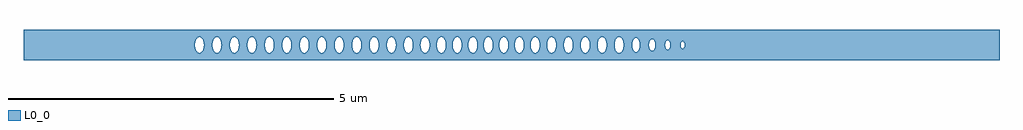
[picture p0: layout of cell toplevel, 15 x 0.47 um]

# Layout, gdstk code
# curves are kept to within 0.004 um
import gdstk
lib = gdstk.Library(unit=1e-6, precision=1e-09)
def P(c, l, *ps):  # polygons
    for p in ps: c.add(gdstk.Polygon(p, *l))
L0_0 = (0, 0)

toplevel = lib.new_cell('toplevel')
P(toplevel, L0_0, [(-4.31,-0.235),(-4.31,-0.085),(-4.324,-0.046),(-4.329,-0.008),(-4.324,0.046),(-4.31,0.085),(-4.31,0.235),(-7.5,0.235),(-7.5,-0.008),(-4.866,-0.008),(-4.864,0.031),(-4.85,0.079),(-4.829,0.109),(-4.8,0.124),(-4.769,0.115),(-4.744,0.085),(-4.728,0.038),(-4.725,-0.016),(-4.597,-0.016),(-4.594,0.038),(-4.584,0.073),(-4.561,0.109),(-4.531,0.124),(-4.505,0.118),(-4.475,0.085),(-4.461,0.046),(-4.456,0),(-4.461,-0.046),(-4.475,-0.085),(-4.493,-0.109),(-4.522,-0.124),(-4.549,-0.118),(-4.572,-0.096),(-4.589,-0.06),(-4.597,-0.016),(-4.725,-0.016),(-4.738,-0.073),(-4.75,-0.096),(-4.774,-0.118),(-4.8,-0.124),(-4.829,-0.109),(-4.847,-0.085),(-4.861,-0.046),(-4.866,-0.008),(-7.5,-0.008),(-7.5,-0.235)],
  [(-3.791,0.016),(-3.783,0.06),(-3.763,0.1),(-3.735,0.122),(-3.708,0.122),(-3.708,0.235),(-4.31,0.235),(-4.31,0.085),(-4.292,0.109),(-4.272,0.122),(-4.245,0.122),(-4.224,0.109),(-4.197,0.06),(-4.188,-0.016),(-4.06,-0.016),(-4.057,0.038),(-4.047,0.073),(-4.024,0.109),(-3.994,0.124),(-3.968,0.118),(-3.938,0.085),(-3.924,0.046),(-3.919,0),(-3.924,-0.046),(-3.938,-0.085),(-3.956,-0.109),(-3.985,-0.124),(-4.012,-0.118),(-4.035,-0.096),(-4.052,-0.06),(-4.06,-0.016),(-4.188,-0.016),(-4.207,-0.085),(-4.224,-0.109),(-4.245,-0.122),(-4.263,-0.124),(-4.28,-0.118),(-4.31,-0.085),(-4.31,-0.235),(-3.708,-0.235),(-3.708,-0.122),(-3.726,-0.124),(-3.743,-0.118),(-3.77,-0.09),(-3.79,-0.031)],
  [(-3.125,-0.066),(-3.139,-0.096),(-3.158,-0.115),(-3.18,-0.124),(-3.206,-0.118),(-3.239,-0.079),(-3.253,-0.031),(-3.255,0.008),(-3.25,0.046),(-3.236,0.085),(-3.218,0.109),(-3.189,0.124),(-3.163,0.118),(-3.139,0.096),(-3.117,0.038),(-3.117,0.235),(-3.708,0.235),(-3.708,0.122),(-3.687,0.109),(-3.664,0.073),(-3.654,0.038),(-3.651,-0.016),(-3.523,-0.016),(-3.52,0.038),(-3.51,0.073),(-3.487,0.109),(-3.457,0.124),(-3.431,0.118),(-3.408,0.096),(-3.391,0.06),(-3.382,0.008),(-3.387,-0.046),(-3.401,-0.085),(-3.419,-0.109),(-3.448,-0.124),(-3.475,-0.118),(-3.498,-0.096),(-3.515,-0.06),(-3.523,-0.016),(-3.651,-0.016),(-3.67,-0.085),(-3.687,-0.109),(-3.708,-0.122),(-3.708,-0.235),(-3.117,-0.235),(-3.117,-0.039)],
  [(-3.116,-0.031),(-3.117,-0.235),(-2.438,-0.235),(-2.438,-0.066),(-2.449,-0.016),(-2.447,0.031),(-2.438,0.066),(-2.438,0.235),(-3.117,0.235),(-3.114,-0.016),(-2.986,-0.016),(-2.983,0.038),(-2.973,0.073),(-2.95,0.109),(-2.92,0.124),(-2.894,0.118),(-2.864,0.085),(-2.85,0.046),(-2.845,-0.008),(-2.718,-0.008),(-2.713,0.046),(-2.696,0.09),(-2.669,0.118),(-2.638,0.123),(-2.602,0.096),(-2.59,0.073),(-2.577,0.016),(-2.58,-0.038),(-2.59,-0.073),(-2.613,-0.109),(-2.634,-0.122),(-2.665,-0.12),(-2.692,-0.096),(-2.709,-0.06),(-2.718,-0.008),(-2.845,-0.008),(-2.85,-0.046),(-2.864,-0.085),(-2.882,-0.109),(-2.911,-0.124),(-2.938,-0.118),(-2.961,-0.096),(-2.978,-0.06),(-2.986,-0.016),(-3.114,-0.016)],
  [(-1.915,0.016),(-1.911,0.046),(-1.894,0.09),(-1.876,0.112),(-1.85,0.124),(-1.85,0.235),(-2.438,0.235),(-2.438,0.066),(-2.424,0.096),(-2.401,0.118),(-2.383,0.124),(-2.357,0.118),(-2.334,0.096),(-2.319,0.066),(-2.309,-0.016),(-2.181,-0.016),(-2.178,0.038),(-2.168,0.073),(-2.145,0.109),(-2.115,0.124),(-2.089,0.118),(-2.066,0.096),(-2.045,0.046),(-2.04,0),(-2.045,-0.046),(-2.06,-0.085),(-2.077,-0.109),(-2.106,-0.124),(-2.133,-0.118),(-2.156,-0.096),(-2.173,-0.06),(-2.181,-0.016),(-2.309,-0.016),(-2.327,-0.085),(-2.345,-0.109),(-2.374,-0.124),(-2.392,-0.122),(-2.413,-0.109),(-2.438,-0.067),(-2.438,-0.235),(-1.85,-0.235),(-1.85,-0.124),(-1.876,-0.112),(-1.903,-0.073),(-1.914,-0.031)],
  [(-1.85,0.235),(-1.85,0.124),(-1.824,0.118),(-1.794,0.085),(-1.78,0.046),(-1.775,-0.008),(-1.655,-0.008),(-1.653,0.031),(-1.639,0.079),(-1.618,0.109),(-1.589,0.124),(-1.563,0.118),(-1.539,0.096),(-1.519,0.046),(-1.514,0.008),(-1.517,-0.038),(-1.527,-0.073),(-1.55,-0.109),(-1.58,-0.124),(-1.606,-0.118),(-1.633,-0.09),(-1.65,-0.046),(-1.655,-0.008),(-1.775,-0.008),(-1.78,-0.046),(-1.797,-0.09),(-1.824,-0.118),(-1.85,-0.124),(-1.85,-0.235),(-1.272,-0.235),(-1.272,-0.074),(-1.287,-0.1),(-1.307,-0.118),(-1.324,-0.124),(-1.342,-0.122),(-1.363,-0.109),(-1.38,-0.085),(-1.399,-0.016),(-1.396,0.038),(-1.386,0.073),(-1.374,0.096),(-1.355,0.115),(-1.333,0.124),(-1.307,0.118),(-1.287,0.1),(-1.272,0.073),(-1.272,0.235)],
  [(-1.26,-0.031),(-1.272,-0.073),(-1.272,-0.235),(-0.662,-0.235),(-0.662,0.235),(-1.272,0.235),(-1.272,0.072),(-1.26,0.031),(-1.259,-0.016),(-1.149,-0.016),(-1.146,0.038),(-1.136,0.073),(-1.113,0.109),(-1.083,0.124),(-1.057,0.118),(-1.03,0.09),(-1.013,0.046),(-1.008,0),(-0.905,0),(-0.9,0.046),(-0.879,0.096),(-0.856,0.118),(-0.825,0.123),(-0.789,0.096),(-0.772,0.06),(-0.764,0.016),(-0.772,-0.06),(-0.789,-0.096),(-0.812,-0.118),(-0.843,-0.123),(-0.872,-0.105),(-0.896,-0.06),(-0.905,0),(-1.008,0),(-1.013,-0.046),(-1.027,-0.085),(-1.045,-0.109),(-1.074,-0.124),(-1.1,-0.118),(-1.124,-0.096),(-1.136,-0.073),(-1.149,-0.016),(-1.259,-0.016)],
  [(-0.661,0.038),(-0.639,0.096),(-0.615,0.118),(-0.589,0.124),(-0.56,0.109),(-0.539,0.079),(-0.525,0.031),(-0.524,-0.016),(-0.426,-0.016),(-0.423,0.038),(-0.407,0.085),(-0.378,0.118),(-0.351,0.124),(-0.322,0.109),(-0.304,0.085),(-0.29,0.046),(-0.285,0),(-0.29,-0.046),(-0.304,-0.085),(-0.322,-0.109),(-0.351,-0.124),(-0.378,-0.118),(-0.401,-0.096),(-0.418,-0.06),(-0.426,-0.016),(-0.524,-0.016),(-0.528,-0.046),(-0.545,-0.09),(-0.56,-0.109),(-0.589,-0.124),(-0.615,-0.118),(-0.639,-0.096),(-0.662,-0.034),(-0.662,-0.235),(-0.145,-0.235),(-0.145,-0.115),(-0.164,-0.096),(-0.176,-0.073),(-0.189,-0.016),(-0.186,0.038),(-0.176,0.073),(-0.164,0.096),(-0.145,0.115),(-0.145,0.235),(-0.662,0.235)],
  [(0.295,0.016),(0.31,0.079),(0.343,0.118),(0.36,0.124),(0.378,0.122),(0.41,0.096),(0.41,0.235),(-0.145,0.235),(-0.145,0.115),(-0.123,0.124),(-0.105,0.122),(-0.074,0.096),(-0.053,0.046),(-0.049,-0.016),(0.05,-0.016),(0.053,0.038),(0.063,0.073),(0.086,0.109),(0.116,0.124),(0.142,0.118),(0.169,0.09),(0.186,0.046),(0.191,0.008),(0.189,-0.031),(0.175,-0.079),(0.154,-0.109),(0.125,-0.124),(0.099,-0.118),(0.075,-0.096),(0.063,-0.073),(0.05,-0.016),(-0.049,-0.016),(-0.059,-0.066),(-0.081,-0.105),(-0.114,-0.124),(-0.145,-0.115),(-0.145,-0.235),(0.41,-0.235),(0.41,-0.096),(0.391,-0.115),(0.369,-0.124),(0.352,-0.122),(0.331,-0.109),(0.303,-0.06)],
  [(0.41,0.235),(0.41,0.096),(0.432,0.038),(0.435,-0.008),(0.546,-0.008),(0.548,0.031),(0.562,0.079),(0.583,0.109),(0.612,0.124),(0.643,0.115),(0.668,0.085),(0.684,0.038),(0.687,-0.016),(0.804,-0.016),(0.807,0.038),(0.817,0.073),(0.84,0.109),(0.87,0.124),(0.896,0.118),(0.919,0.096),(0.94,0.046),(0.945,0),(0.94,-0.046),(0.925,-0.085),(0.908,-0.109),(0.878,-0.124),(0.852,-0.118),(0.829,-0.096),(0.812,-0.06),(0.804,-0.016),(0.687,-0.016),(0.676,-0.067),(0.662,-0.096),(0.638,-0.118),(0.612,-0.124),(0.583,-0.109),(0.565,-0.085),(0.551,-0.046),(0.546,-0.008),(0.435,-0.008),(0.43,-0.046),(0.41,-0.096),(0.41,-0.235),(1.063,-0.235),(1.063,0.235)],
  [(1.613,-0.235),(1.613,-0.1),(1.592,-0.06),(1.584,-0.016),(1.59,0.053),(1.613,0.1),(1.613,0.235),(1.063,0.235),(1.063,0.016),(1.071,0.06),(1.088,0.096),(1.111,0.118),(1.138,0.124),(1.167,0.109),(1.185,0.085),(1.199,0.046),(1.203,-0.016),(1.322,-0.016),(1.325,0.038),(1.341,0.085),(1.366,0.115),(1.397,0.124),(1.426,0.109),(1.444,0.085),(1.458,0.046),(1.463,0.008),(1.461,-0.031),(1.447,-0.079),(1.426,-0.109),(1.397,-0.124),(1.371,-0.118),(1.347,-0.096),(1.335,-0.073),(1.322,-0.016),(1.203,-0.016),(1.195,-0.06),(1.175,-0.1),(1.151,-0.12),(1.12,-0.122),(1.099,-0.109),(1.082,-0.085),(1.069,-0.053),(1.063,-0.016),(1.063,-0.235)],
  [(1.613,0.235),(1.613,0.1),(1.632,0.118),(1.65,0.124),(1.672,0.12),(1.692,0.105),(1.72,0.046),(1.724,-0.014),(1.853,-0.014),(1.857,0.04),(1.869,0.074),(1.884,0.095),(1.91,0.108),(1.929,0.105),(1.955,0.079),(1.974,0.014),(1.97,-0.04),(1.958,-0.074),(1.943,-0.095),(1.917,-0.108),(1.898,-0.105),(1.872,-0.079),(1.853,-0.014),(1.724,-0.014),(1.714,-0.066),(1.688,-0.109),(1.667,-0.122),(1.65,-0.124),(1.632,-0.118),(1.613,-0.1),(1.613,-0.235),(2.205,-0.235),(2.205,-0.049),(2.178,-0.088),(2.146,-0.088),(2.123,-0.059),(2.112,-0.017),(2.119,0.049),(2.143,0.086),(2.159,0.092),(2.178,0.088),(2.205,0.049),(2.205,0.235)],
  [(2.212,-0.012),(2.205,-0.049),(2.205,-0.235),(7.5,-0.235),(7.5,0.235),(2.205,0.235),(2.205,0.048),(2.213,-0.005),(2.359,-0.005),(2.37,0.052),(2.38,0.067),(2.397,0.076),(2.415,0.071),(2.43,0.052),(2.439,0.023),(2.44,-0.008),(2.6,-0.008),(2.608,0.041),(2.627,0.06),(2.649,0.049),(2.662,0.004),(2.655,-0.038),(2.635,-0.06),(2.614,-0.051),(2.6,-0.008),(2.44,-0.008),(2.43,-0.052),(2.42,-0.067),(2.403,-0.076),(2.39,-0.074),(2.374,-0.059),(2.359,-0.005),(2.213,-0.005)])

lib.write_gds('toplevel.gds')
